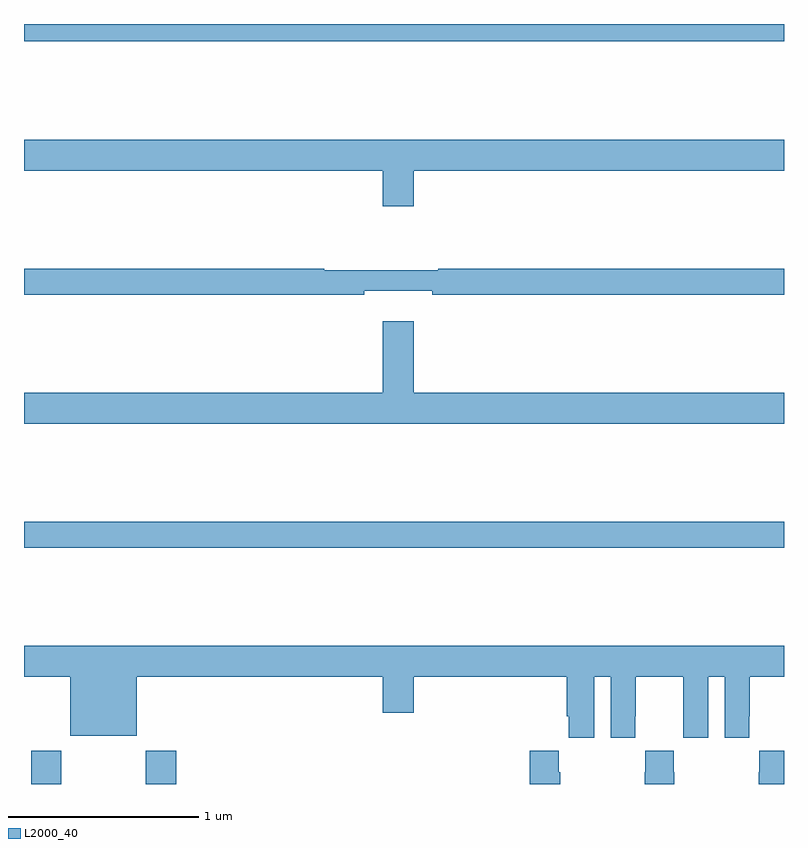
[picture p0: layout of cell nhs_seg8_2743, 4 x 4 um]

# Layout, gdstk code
import gdstk
lib = gdstk.Library(unit=1e-6, precision=1e-09)
def R(c, l, rs):  # rectangles x0, y0, x1, y1
    for r in rs: c.add(gdstk.rectangle(r[:2], r[2:], *l))
def P(c, l, *ps):  # polygons
    for p in ps: c.add(gdstk.Polygon(p, *l))
L2000_40 = (2000, 40)

nhs_seg8_2743 = lib.new_cell('nhs_seg8_2743')
R(nhs_seg8_2743, L2000_40, [(283.037,1151.9,283.197,1152.076), (283.642,1151.9,283.802,1152.076), (283,1153.144,287,1153.28), (283,1155.808,287,1155.9)])
P(nhs_seg8_2743, L2000_40, [(285.052,1155.128),(287,1155.128),(287,1155.292),(283,1155.292),(283,1155.128),(284.888,1155.128),(284.888,1154.94),(285.052,1154.94)],
  [(284.792,1154.495),(285.148,1154.495),(285.148,1154.476),(287,1154.476),(287,1154.612),(285.179,1154.612),(285.179,1154.605),(284.579,1154.605),(284.579,1154.612),(283,1154.612),(283,1154.476),(284.792,1154.476)],
  [(287,1153.96),(285.052,1153.96),(285.052,1154.335),(284.888,1154.335),(284.888,1153.96),(283,1153.96),(283,1153.796),(287,1153.796)],
  [(286,1152.464),(286.088,1152.464),(286.088,1152.144),(286.218,1152.144),(286.218,1152.256),(286.219,1152.256),(286.219,1152.464),(286.469,1152.464),(286.469,1152.256),(286.47,1152.256),(286.47,1152.144),(286.6,1152.144),(286.6,1152.464),(286.688,1152.464),(286.688,1152.144),(286.818,1152.144),(286.818,1152.256),(286.819,1152.256),(286.819,1152.464),(287,1152.464),(287,1152.628),(283,1152.628),(283,1152.464),(283.244,1152.464),(283.244,1152.155),(283.594,1152.155),(283.594,1152.464),(284.888,1152.464),(284.888,1152.276),(285.052,1152.276),(285.052,1152.464),(285.857,1152.464),(285.857,1152.256),(285.866,1152.256),(285.866,1152.144),(286,1152.144)],
  [(285.822,1151.963),(285.815,1151.963),(285.815,1152.076),(285.662,1152.076),(285.662,1151.9),(285.822,1151.9)],
  [(287,1152.076),(286.869,1152.076),(286.869,1151.963),(286.867,1151.963),(286.867,1151.9),(287,1151.9)],
  [(286.269,1152.076),(286.269,1151.963),(286.267,1151.963),(286.267,1151.9),(286.422,1151.9),(286.422,1151.963),(286.419,1151.963),(286.419,1152.076)])

lib.write_gds('nhs_seg8_2743.gds')
